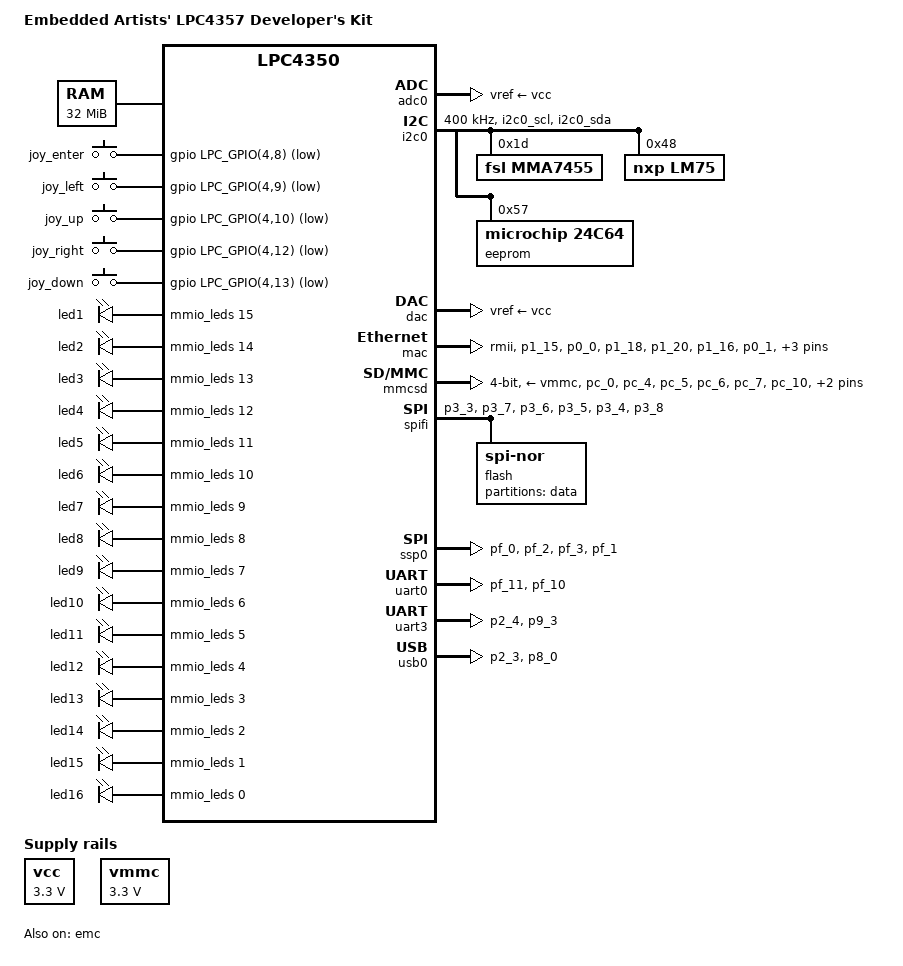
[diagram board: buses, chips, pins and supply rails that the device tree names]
/*
 * Embedded Artist LPC4357 Developer's Kit
 *
 * Copyright 2015 Joachim Eastwood <manabian@gmail.com>
 *
 * This code is released using a dual license strategy: BSD/GPL
 * You can choose the licence that better fits your requirements.
 *
 * Released under the terms of 3-clause BSD License
 * Released under the terms of GNU General Public License Version 2.0
 *
 */
/dts-v1/;

#include "lpc18xx.dtsi"
#include "lpc4357.dtsi"

#include "dt-bindings/input/input.h"
#include "dt-bindings/gpio/gpio.h"

/ {
	model = "Embedded Artists' LPC4357 Developer's Kit";
	compatible = "ea,lpc4357-developers-kit", "nxp,lpc4357", "nxp,lpc4350";

	aliases {
		serial0 = &uart0;
		serial1 = &uart1;
		serial2 = &uart2;
		serial3 = &uart3;
	};

	chosen {
		stdout-path = &uart0;
	};

	memory@28000000 {
		device_type = "memory";
		reg = <0x28000000 0x2000000>; /* 32 MB */
	};

	vcc: vcc_fixed {
		compatible = "regulator-fixed";
		regulator-name = "3v3-supply";
		regulator-min-microvolt = <3300000>;
		regulator-max-microvolt = <3300000>;
	};

	/* vmmc is controlled by sdmmc host internally */
	vmmc: vmmc_fixed {
		compatible = "regulator-fixed";
		regulator-name = "vmmc-supply";
		regulator-min-microvolt = <3300000>;
		regulator-max-microvolt = <3300000>;
	};

	gpio_joystick {
		compatible = "gpio-keys-polled";
		pinctrl-names = "default";
		pinctrl-0 = <&gpio_joystick_pins>;
		#address-cells = <1>;
		#size-cells = <0>;
		poll-interval = <100>;
		autorepeat;

		button0 {
			label = "joy_enter";
			linux,code = <KEY_ENTER>;
			gpios = <&gpio LPC_GPIO(4,8) GPIO_ACTIVE_LOW>;
		};

		button1 {
			label = "joy_left";
			linux,code = <KEY_LEFT>;
			gpios = <&gpio LPC_GPIO(4,9) GPIO_ACTIVE_LOW>;
		};

		button2 {
			label = "joy_up";
			linux,code = <KEY_UP>;
			gpios = <&gpio LPC_GPIO(4,10) GPIO_ACTIVE_LOW>;
		};

		button3 {
			label = "joy_right";
			linux,code = <KEY_RIGHT>;
			gpios = <&gpio LPC_GPIO(4,12) GPIO_ACTIVE_LOW>;
		};

		button4 {
			label = "joy_down";
			linux,code = <KEY_DOWN>;
			gpios = <&gpio LPC_GPIO(4,13) GPIO_ACTIVE_LOW>;
		};
	};

	leds_mmio {
		compatible = "gpio-leds";

		led1 {
			gpios = <&mmio_leds 15 GPIO_ACTIVE_HIGH>;
			linux,default-trigger = "heartbeat";
		};

		led2 {
			gpios = <&mmio_leds 14 GPIO_ACTIVE_HIGH>;
		};

		led3 {
			gpios = <&mmio_leds 13 GPIO_ACTIVE_HIGH>;
		};

		led4 {
			gpios = <&mmio_leds 12 GPIO_ACTIVE_HIGH>;
		};

		led5 {
			gpios = <&mmio_leds 11 GPIO_ACTIVE_HIGH>;
		};

		led6 {
			gpios = <&mmio_leds 10 GPIO_ACTIVE_HIGH>;
		};

		led7 {
			gpios = <&mmio_leds 9 GPIO_ACTIVE_HIGH>;
		};

		led8 {
			gpios = <&mmio_leds 8 GPIO_ACTIVE_HIGH>;
		};

		led9 {
			gpios = <&mmio_leds 7 GPIO_ACTIVE_HIGH>;
		};

		led10 {
			gpios = <&mmio_leds 6 GPIO_ACTIVE_HIGH>;
		};

		led11 {
			gpios = <&mmio_leds 5 GPIO_ACTIVE_HIGH>;
		};

		led12 {
			gpios = <&mmio_leds 4 GPIO_ACTIVE_HIGH>;
		};

		led13 {
			gpios = <&mmio_leds 3 GPIO_ACTIVE_HIGH>;
		};

		led14 {
			gpios = <&mmio_leds 2 GPIO_ACTIVE_HIGH>;
		};

		led15 {
			gpios = <&mmio_leds 1 GPIO_ACTIVE_HIGH>;
		};

		led16 {
			gpios = <&mmio_leds 0 GPIO_ACTIVE_HIGH>;
		};
	};
};

&pinctrl {
	emc_pins: emc-pins {
		emc_addr0_23_cfg {
			pins =	"p2_9",  "p2_10", "p2_11", "p2_12",
				"p2_13", "p1_0",  "p1_1",  "p1_2",
				"p2_8",  "p2_7",  "p2_6",  "p2_2",
				"p2_1",  "p2_0",  "p6_8",  "p6_7",
				"pd_16", "pd_15", "pe_0",  "pe_1",
				"pe_2",  "pe_3",  "pe_4",  "pa_4";
			function = "emc";
			slew-rate = <1>;
			bias-disable;
			input-enable;
			input-schmitt-disable;
		};

		emc_data0_31_cfg {
			pins =	"p1_7",  "p1_8",  "p1_9",  "p1_10",
				"p1_11", "p1_12", "p1_13", "p1_14",
				"p5_4",  "p5_5",  "p5_6",  "p5_7",
				"p5_0",  "p5_1",  "p5_2",  "p5_3",
				"pd_2",  "pd_3",  "pd_4",  "pd_5",
				"pd_6",  "pd_7",  "pd_8",  "pd_9",
				"pe_5",  "pe_6",  "pe_7",  "pe_8",
				"pe_9",  "pe_10", "pe_11", "pe_12";
			function = "emc";
			slew-rate = <1>;
			bias-disable;
			input-enable;
			input-schmitt-disable;
		};

		emc_we_oe_cfg {
			pins = "p1_6", "p1_3";
			function = "emc";
			slew-rate = <1>;
			bias-disable;
			input-enable;
			input-schmitt-disable;
		};

		emc_bls0_3_cfg {
			pins = "p1_4", "p6_6", "pd_13", "pd_10";
			function = "emc";
			slew-rate = <1>;
			bias-disable;
			input-enable;
			input-schmitt-disable;
		};

		emc_cs0_3_cfg {
			pins = "p1_5", "p6_3", "pd_12", "pd_11";
			function = "emc";
			slew-rate = <1>;
			bias-disable;
			input-enable;
			input-schmitt-disable;
		};

		emc_sdram_dqm0_3_cfg {
			pins = "p6_12", "p6_10", "pd_0", "pe_13";
			function = "emc";
			slew-rate = <1>;
			bias-disable;
			input-enable;
			input-schmitt-disable;
		};

		emc_sdram_ras_cas_cfg {
			pins = "p6_5", "p6_4";
			function = "emc";
			slew-rate = <1>;
			bias-disable;
			input-enable;
			input-schmitt-disable;
		};

		emc_sdram_dycs0_cfg {
			pins = "p6_9";
			function = "emc";
			slew-rate = <1>;
			bias-disable;
			input-enable;
			input-schmitt-disable;
		};

		emc_sdram_cke_cfg {
			pins = "p6_11";
			function = "emc";
			slew-rate = <1>;
			bias-disable;
			input-enable;
			input-schmitt-disable;
		};

		emc_sdram_clock_cfg {
			pins = "clk0", "clk1", "clk2", "clk3";
			function = "emc";
			slew-rate = <1>;
			bias-disable;
			input-enable;
			input-schmitt-disable;
		};
	};

	enet_rmii_pins: enet-rmii-pins {
		enet_rmii_rxd_cfg {
			pins = "p1_15", "p0_0";
			function = "enet";
			slew-rate = <1>;
			bias-disable;
			input-enable;
			input-schmitt-disable;
		};

		enet_rmii_txd_cfg {
			pins = "p1_18", "p1_20";
			function = "enet";
			slew-rate = <1>;
			bias-disable;
			input-enable;
			input-schmitt-disable;
		};

		enet_rmii_rx_dv_cfg {
			pins = "p1_16";
			function = "enet";
			bias-disable;
			input-enable;
			input-schmitt-disable;
		};

		enet_rmii_tx_en_cfg {
			pins = "p0_1";
			function = "enet";
			bias-disable;
			input-enable;
			input-schmitt-disable;
		};

		enet_ref_clk_cfg {
			pins = "p1_19";
			function = "enet";
			slew-rate = <1>;
			bias-disable;
			input-enable;
			input-schmitt-disable;
		};

		enet_mdio_cfg {
			pins = "p1_17";
			function = "enet";
			bias-disable;
			input-enable;
			input-schmitt-disable;
		};

		enet_mdc_cfg {
			pins = "pc_1";
			function = "enet";
			slew-rate = <1>;
			bias-disable;
			input-enable;
			input-schmitt-disable;
		};
	};

	gpio_joystick_pins: gpio-joystick-pins {
		gpio_joystick_cfg {
			pins =	"p9_0", "p9_1", "pa_1", "pa_2", "pa_3";
			function = "gpio";
			input-enable;
			bias-disable;
		};
	};

	i2c0_pins: i2c0-pins {
		i2c0_pins_cfg {
			pins = "i2c0_scl", "i2c0_sda";
			function = "i2c0";
			input-enable;
		};
	};

	sdmmc_pins: sdmmc-pins {
		sdmmc_clk_cfg {
			pins = "pc_0";
			function = "sdmmc";
			slew-rate = <1>;
			bias-pull-down;
		};

		sdmmc_cmd_dat0_3_cfg {
			pins = "pc_4", "pc_5", "pc_6", "pc_7", "pc_10";
			function = "sdmmc";
			slew-rate = <1>;
			bias-disable;
			input-enable;
			input-schmitt-disable;
		};

		sdmmc_cd_cfg {
			pins = "pc_8";
			function = "sdmmc";
			bias-pull-down;
			input-enable;
		};

		sdmmc_pow_cfg {
			pins = "pc_9";
			function = "sdmmc";
			bias-pull-down;
		};
	};

	spifi_pins: spifi-pins {
		spifi_clk_cfg {
			pins = "p3_3";
			function = "spifi";
			slew-rate = <1>;
			bias-disable;
			input-enable;
			input-schmitt-disable;
		};

		spifi_mosi_miso_sio2_3_cfg {
			pins = "p3_7", "p3_6", "p3_5", "p3_4";
			function = "spifi";
			slew-rate = <0>;
			bias-disable;
			input-enable;
			input-schmitt-disable;
		};

		spifi_cs_cfg {
			pins = "p3_8";
			function = "spifi";
			bias-disable;
		};
	};

	ssp0_pins: ssp0-pins {
		ssp0_sck_miso_mosi {
			pins = "pf_0", "pf_2", "pf_3";
			function = "ssp0";
			slew-rate = <1>;
			bias-pull-down;
			input-enable;
			input-schmitt-disable;
		};

		ssp0_ssel {
			pins = "pf_1";
			function = "ssp0";
			bias-pull-up;
		};
	};

	uart0_pins: uart0-pins {
		uart0_rx_cfg {
			pins = "pf_11";
			function = "uart0";
			input-schmitt-disable;
			bias-disable;
			input-enable;
		};

		uart0_tx_cfg {
			pins = "pf_10";
			function = "uart0";
			bias-pull-down;
		};
	};

	uart3_pins: uart3-pins {
		uart3_rx_cfg {
			pins = "p2_4";
			function = "uart3";
			input-schmitt-disable;
			bias-disable;
			input-enable;
		};

		uart3_tx_cfg {
			pins = "p9_3";
			function = "uart3";
			bias-pull-down;
		};
	};

	usb0_pins: usb0-pins {
		usb0_pwr_enable {
			pins = "p2_3";
			function = "usb0";
		};

		usb0_pwr_fault {
			pins = "p8_0";
			function = "usb0";
			bias-disable;
			input-enable;
		};
	};
};

&adc0 {
	status = "okay";
	vref-supply = <&vcc>;
};

&i2c0 {
	status = "okay";
	pinctrl-names = "default";
	pinctrl-0 = <&i2c0_pins>;
	clock-frequency = <400000>;

	mma7455@1d {
		compatible = "fsl,mma7455";
		reg = <0x1d>;
	};

	lm75@48 {
		compatible = "nxp,lm75";
		reg = <0x48>;
	};

	eeprom@57 {
		compatible = "microchip,24c64";
		reg = <0x57>;
	};
};

&dac {
	status = "okay";
	vref-supply = <&vcc>;
};

&emc {
	status = "okay";
	pinctrl-names = "default";
	pinctrl-0 = <&emc_pins>;

	cs0 {
		#address-cells = <2>;
		#size-cells = <1>;
		ranges;

		mpmc,cs = <0>;
		mpmc,memory-width = <16>;
		mpmc,byte-lane-low;
		mpmc,write-enable-delay = <0>;
		mpmc,output-enable-delay = <0>;
		mpmc,read-access-delay = <70>;
		mpmc,page-mode-read-delay = <70>;

		flash@0,0 {
			compatible = "sst,sst39vf320", "cfi-flash";
			reg = <0 0 0x400000>;
			bank-width = <2>;
			#address-cells = <1>;
			#size-cells = <1>;

			partition@0 {
				label = "bootloader";
				reg = <0x000000 0x040000>; /* 256 KiB */
			};

			partition@1 {
				label = "kernel";
				reg = <0x040000 0x2c0000>; /* 2.75 MiB */
			};

			partition@2 {
				label = "rootfs";
				reg = <0x300000 0x100000>; /* 1 MiB */
			};
		};
	};

	cs2 {
		#address-cells = <2>;
		#size-cells = <1>;
		ranges;

		mpmc,cs = <2>;
		mpmc,memory-width = <16>;

		mmio_leds: gpio@2,0 {
			compatible = "ti,7416374";
			reg = <2 0 0x2>;
			gpio-controller;
			#gpio-cells = <2>;
		};

	};
};

&enet_tx_clk {
	clock-frequency = <50000000>;
};

&mac {
	status = "okay";
	phy-mode = "rmii";
	pinctrl-names = "default";
	pinctrl-0 = <&enet_rmii_pins>;
};

&mmcsd {
	status = "okay";
	bus-width = <4>;
	vmmc-supply = <&vmmc>;
	pinctrl-names = "default";
	pinctrl-0 = <&sdmmc_pins>;
};

&spifi {
	status = "okay";
	pinctrl-names = "default";
	pinctrl-0 = <&spifi_pins>;

	flash {
		compatible = "jedec,spi-nor";
		spi-cpol;
		spi-cpha;
		spi-rx-bus-width = <4>;
		#address-cells = <1>;
		#size-cells = <1>;

		partition@0 {
			label = "data";
			reg = <0 0x200000>;
		};
	};
};

&ssp0 {
	status = "okay";
	pinctrl-names = "default";
	pinctrl-0 = <&ssp0_pins>;
	num-cs = <1>;
};

&uart0 {
	status = "okay";
	pinctrl-names = "default";
	pinctrl-0 = <&uart0_pins>;
};

&uart3 {
	status = "okay";
	pinctrl-names = "default";
	pinctrl-0 = <&uart3_pins>;
};

&usb0 {
	status = "okay";
	pinctrl-names = "default";
	pinctrl-0 = <&usb0_pins>;
};
